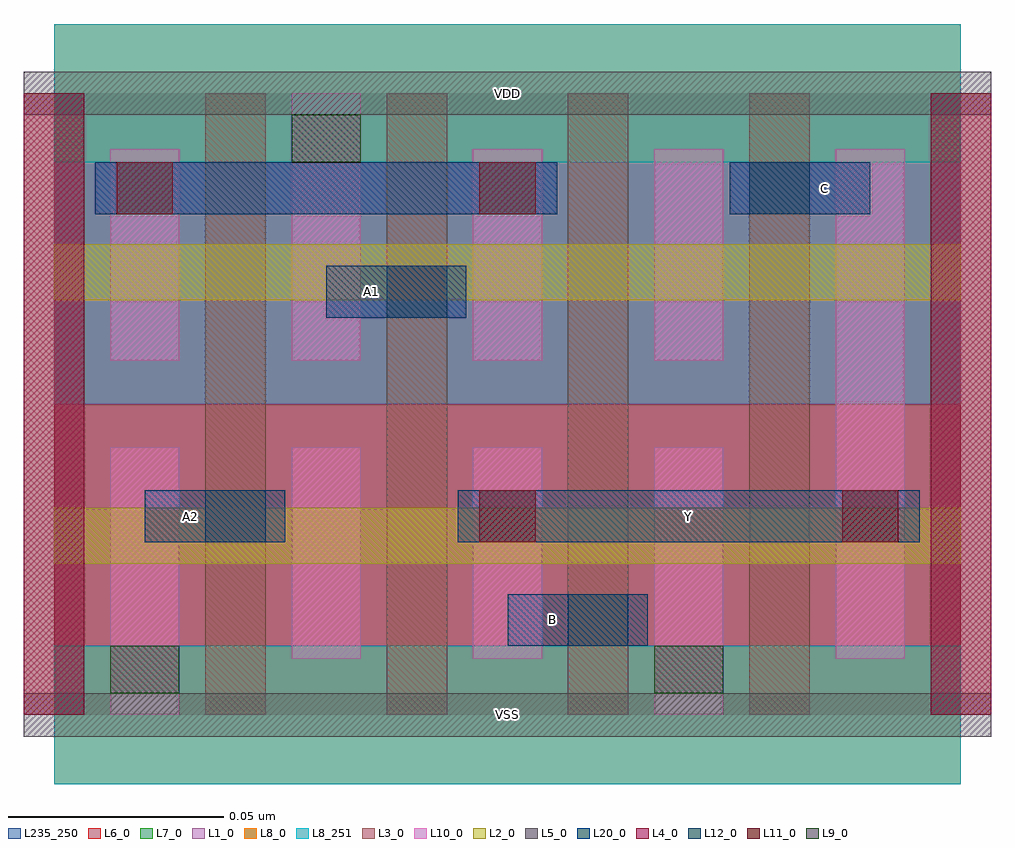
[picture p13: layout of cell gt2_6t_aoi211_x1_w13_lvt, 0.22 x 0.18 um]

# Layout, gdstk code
import gdstk
lib = gdstk.Library(unit=1e-6, precision=5e-10)
def R(c, l, rs):  # rectangles x0, y0, x1, y1
    for r in rs: c.add(gdstk.rectangle(r[:2], r[2:], *l))
def A(c, l, x, y, w, h, nx, ny, dx, dy):  # array of equal rectangles
    R(c, l, [(x+i*dx, y+j*dy, x+i*dx+w, y+j*dy+h) for i in range(nx) for j in range(ny)])
L1_0 = (1, 0)
L2_0 = (2, 0)
L3_0 = (3, 0)
L4_0 = (4, 0)
L5_0 = (5, 0)
L6_0 = (6, 0)
L7_0 = (7, 0)
L8_0 = (8, 0)
L8_251 = (8, 251)
L9_0 = (9, 0)
L10_0 = (10, 0)
L11_0 = (11, 0)
L12_0 = (12, 0)
L20_0 = (20, 0)
L235_250 = (235, 250)

gt2_6t_aoi211_x1_w13_lvt = lib.new_cell('gt2_6t_aoi211_x1_w13_lvt')
R(gt2_6t_aoi211_x1_w13_lvt, L1_0, [(0,0.072,0.21,0.144)])
R(gt2_6t_aoi211_x1_w13_lvt, L2_0, [(0,0.035,0.21,0.048), (0,0.096,0.21,0.109)])
A(gt2_6t_aoi211_x1_w13_lvt, L3_0, -0.007, 0, 0.014, 0.144, 6, 1, 0.042, 0)
R(gt2_6t_aoi211_x1_w13_lvt, L4_0, [(-0.007,0,0.007,0.144), (0.203,0,0.217,0.144)])
R(gt2_6t_aoi211_x1_w13_lvt, L5_0, [(-0.007,-0.005,0.217,0.005), (-0.007,0.139,0.217,0.149)])
R(gt2_6t_aoi211_x1_w13_lvt, L6_0, [(0,0,0.21,0.072)])
R(gt2_6t_aoi211_x1_w13_lvt, L7_0, [(0,0.072,0.21,0.144)])
R(gt2_6t_aoi211_x1_w13_lvt, L8_0, [(0,-0.016,0.21,0.016), (0,0.128,0.21,0.16)])
R(gt2_6t_aoi211_x1_w13_lvt, L8_251, [(0,-0.016,0.21,0.016), (0,0.128,0.21,0.16)])
R(gt2_6t_aoi211_x1_w13_lvt, L9_0, [(0.013,0.005,0.029,0.016), (0.139,0.005,0.155,0.016), (0.055,0.128,0.071,0.139)])
R(gt2_6t_aoi211_x1_w13_lvt, L10_0, [(0.013,0,0.029,0.062), (0.139,0,0.155,0.062), (0.055,0.013,0.071,0.062), (0.097,0.013,0.113,0.062), (0.181,0.013,0.197,0.131), (0.013,0.082,0.029,0.131), (0.055,0.082,0.071,0.144), (0.097,0.082,0.113,0.131), (0.139,0.082,0.155,0.131)])
R(gt2_6t_aoi211_x1_w13_lvt, L11_0, [(0.0985,0.04,0.1115,0.052), (0.1825,0.04,0.1955,0.052), (0.0145,0.116,0.0275,0.128), (0.0985,0.116,0.1115,0.128)])
R(gt2_6t_aoi211_x1_w13_lvt, L12_0, [(0.119,0.016,0.133,0.028), (0.035,0.04,0.049,0.052), (0.077,0.092,0.091,0.104), (0.161,0.116,0.175,0.128)])
R(gt2_6t_aoi211_x1_w13_lvt, L20_0, [(0.105,0.016,0.1375,0.028), (0.021,0.04,0.0535,0.052), (0.0935,0.04,0.2005,0.052), (0.063,0.092,0.0955,0.104), (0.0095,0.116,0.1165,0.128), (0.1565,0.116,0.189,0.128)])
R(gt2_6t_aoi211_x1_w13_lvt, L235_250, [(0,0,0.21,0.144)])
gt2_6t_aoi211_x1_w13_lvt.add(gdstk.Label('VSS', (0.105,0), layer=8, texttype=251))
gt2_6t_aoi211_x1_w13_lvt.add(gdstk.Label('VDD', (0.105,0.144), layer=8, texttype=251))
gt2_6t_aoi211_x1_w13_lvt.add(gdstk.Label('A2', (0.0315,0.046), layer=20, texttype=251))
gt2_6t_aoi211_x1_w13_lvt.add(gdstk.Label('B', (0.1155,0.022), layer=20, texttype=251))
gt2_6t_aoi211_x1_w13_lvt.add(gdstk.Label('C', (0.1785,0.122), layer=20, texttype=251))
gt2_6t_aoi211_x1_w13_lvt.add(gdstk.Label('Y', (0.147,0.046), layer=20, texttype=251))
gt2_6t_aoi211_x1_w13_lvt.add(gdstk.Label('A1', (0.0735,0.098), layer=20, texttype=251))

lib.write_gds('gt2_6t_aoi211_x1_w13_lvt.gds')
